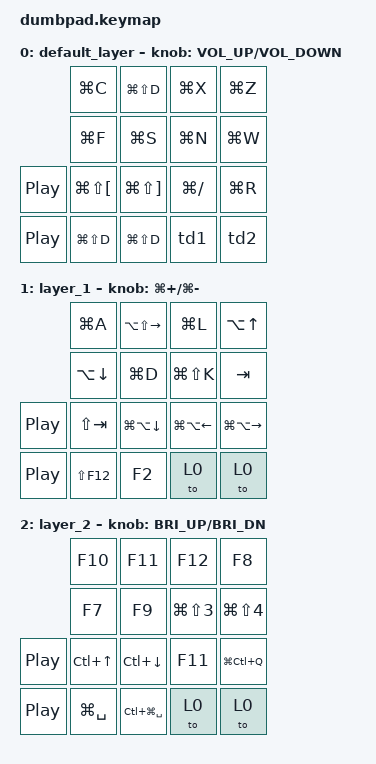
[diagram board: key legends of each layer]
/*
 * Copyright (c) 2022 The ZMK Contributors
 *
 * SPDX-License-Identifier: MIT
 */

#include <behaviors.dtsi>
#include <dt-bindings/zmk/ext_power.h>
#include <dt-bindings/zmk/keys.h>
#include <dt-bindings/zmk/rgb.h>

/ {
    behaviors {
        td1: td1 {
            compatible = "zmk,behavior-tap-dance";
            label = "TD1";
            #binding-cells = <0>;
            bindings = <&mo 1>, <&to 1>;
        };

        td2: td2 {
            compatible = "zmk,behavior-tap-dance";
            label = "TD2";
            #binding-cells = <0>;
            bindings = <&mo 2>, <&to 2>;
        };
    };

    combos {
        compatible = "zmk,combos";

        rgb_next {
            bindings = <&rgb_ug RGB_EFF>;
            key-positions = <14 15>;
        };

        vcc_cutoff {
            bindings = <&ext_power EP_TOG>;
            key-positions = <17 16>;
        };

        rgb_toggle {
            bindings = <&rgb_ug RGB_TOG>;
            key-positions = <16 15>;
        };

        combo_studio_unlock {
            timeout-ms = <50>;
            key-positions = <0 1>;
            bindings = <&studio_unlock>;
        };
    };

    keymap {
        compatible = "zmk,keymap";

        default_layer {
            bindings = <
          &kp LG(C)         &kp LG(LS(D))         &kp LG(X)     &kp LG(Z)
          &kp LG(F)         &kp LG(S)         &kp LG(N)     &kp LG(W)
&kp C_PP  &kp LG(LS(LBKT))  &kp LG(LS(RBKT))  &kp LG(FSLH)  &kp LG(R)
&kp C_PP  &kp LG(LS(D))     &kp LG(LS(D))     &td1          &td2
            >;

            sensor-bindings = <&inc_dec_kp C_VOLUME_UP C_VOLUME_DOWN>;
        };

        layer_1 {
            bindings = <
          &kp LG(A)     &kp LA(LS(RIGHT))  &kp LG(L)         &kp LA(UP)
          &kp LA(DOWN)  &kp LG(D)          &kp LG(LS(K))     &kp TAB
&kp C_PP  &kp LS(TAB)   &kp LG(LA(DOWN))   &kp LG(LA(LEFT))  &kp LG(LA(RIGHT))
&kp C_PP  &kp LS(F12)   &kp F2             &to 0             &to 0
            >;

            sensor-bindings = <&inc_dec_kp LG(PLUS) LG(MINUS)>;
        };

        layer_2 {
            bindings = <
          &kp F10        &kp F11            &kp F12         &kp F8
          &kp F7         &kp F9             &kp LG(LS(N3))  &kp LG(LS(N4))
&kp C_PP  &kp LC(UP)     &kp LC(DOWN)       &kp F11         &kp LG(LC(Q))
&kp C_PP  &kp LG(SPACE)  &kp LC(LG(SPACE))  &to 0           &to 0
            >;

            sensor-bindings = <&inc_dec_kp C_BRI_UP C_BRI_DN>;
        };
    };
};
